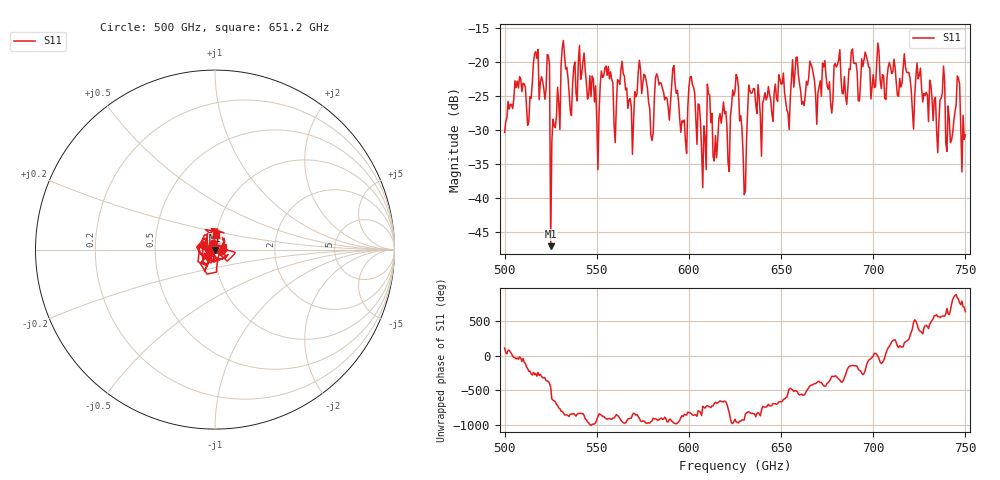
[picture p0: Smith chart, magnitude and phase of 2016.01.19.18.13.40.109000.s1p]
!Created with skrf (http://scikit-rf.org).
# GHz S RI R 50.0
!freq ReS11 ImS11
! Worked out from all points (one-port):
!   401 points, 500 GHz to 750 GHz, reference 50 ohm
!   lowest |S11| = -47.0 dB at 525 GHz (marker M1), VSWR 1.01, Z = 49.9 - j0.439 ohm
!   |S11| at or under -10 dB: start of sweep to end of sweep
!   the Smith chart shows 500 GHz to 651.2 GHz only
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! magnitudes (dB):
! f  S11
! 500 GHz  -30.4
! 506.9 GHz  -22.8
! 513.1 GHz  -28.8
! 516.9 GHz  -18.5
! 523.1 GHz  -18.9
! 525 GHz  -47.0
! 526.2 GHz  -28.4
! 531.2 GHz  -18.0
! 541.9 GHz  -21.7
! 550 GHz  -28.4
! 562.5 GHz  -23.3
! 568.8 GHz  -26.7
! 576.2 GHz  -22.1
! 579.4 GHz  -30.8
! 583.1 GHz  -22.2
! 593.8 GHz  -24.2
! 597.5 GHz  -28.5
! 601.9 GHz  -23.3
! 608.1 GHz  -29.4
! 611.2 GHz  -24.9
! 614.4 GHz  -30.8
! 625 GHz  -24.3
! 630 GHz  -39.5
! 633.8 GHz  -24.6
! 656.2 GHz  -19.7
! 687.5 GHz  -21.1
! 718.8 GHz  -21.6
! 750 GHz  -30.7
